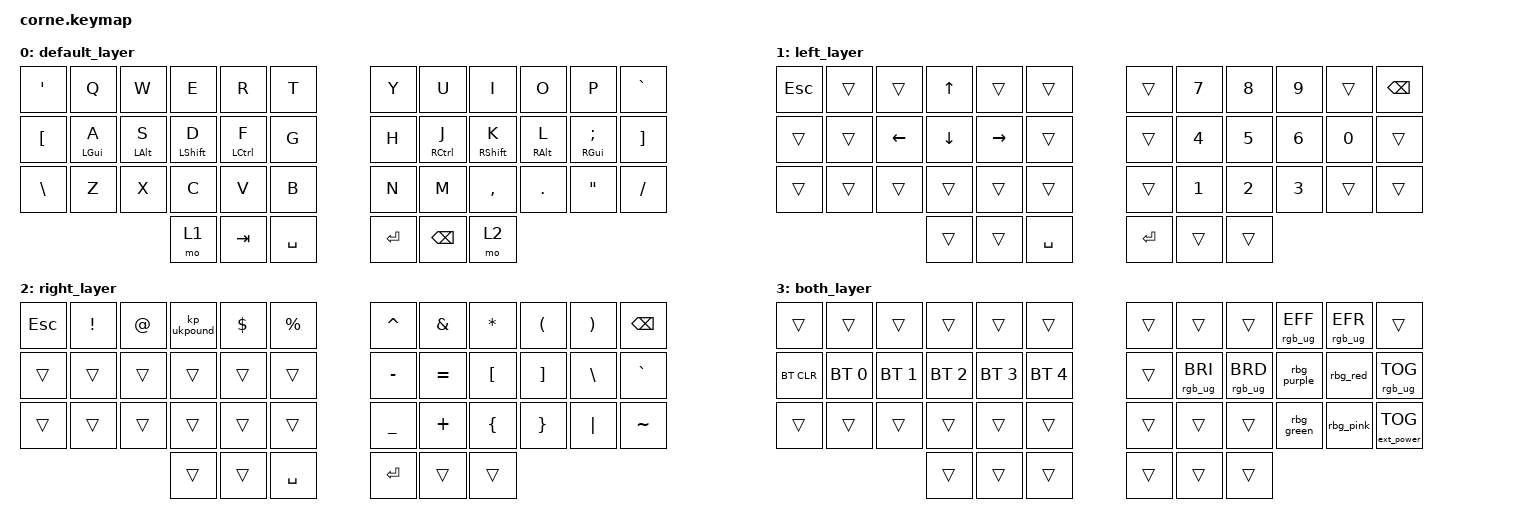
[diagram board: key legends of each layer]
/*
 * Copyright (c) 2020 The ZMK Contributors
 *
 * SPDX-License-Identifier: MIT
 */

#include <behaviors.dtsi>
#include <dt-bindings/zmk/bt.h>
#include <dt-bindings/zmk/ext_power.h>
#include <dt-bindings/zmk/keys.h>
#include <dt-bindings/zmk/keys.h>
#include <dt-bindings/zmk/rgb.h>

&led_strip { chain-length = <27>; };

/ {
    behaviors {
        ht_home: ht_home {
            compatible = "zmk,behavior-hold-tap";
            label = "HT_HOME";
            bindings = <&kp>, <&kp>;

            #binding-cells = <2>;
            tapping-term-ms = <200>;
            flavor = "tap-preferred";
            quick-tap-ms = <200>;
        };
    };

    combos {
        compatible = "zmk,combos";

        combo_escape {
            bindings = <&kp ESCAPE>;
            key-positions = <27 28 31 32>;
            layers = <0>;
        };
    };

    macros {
        rbg_purple: rbg_purple {
            compatible = "zmk,behavior-macro";
            #binding-cells = <0>;
            bindings = <&rgb_ug RGB_ON &rgb_ug RGB_COLOR_HSB(267,100,50)>;
            label = "RBG_PURPLE";
        };

        rbg_red: rbg_red {
            compatible = "zmk,behavior-macro";
            #binding-cells = <0>;
            bindings = <&rgb_ug RGB_ON &rgb_ug RGB_COLOR_HSB(0,100,50)>;
            label = "RBG_RED";
        };

        rbg_green: rbg_green {
            compatible = "zmk,behavior-macro";
            #binding-cells = <0>;
            bindings = <&rgb_ug RGB_ON &rgb_ug RGB_COLOR_HSB(128,100,50)>;
            label = "RBG_GREEN";
        };

        rbg_pink: rbg_pink {
            compatible = "zmk,behavior-macro";
            #binding-cells = <0>;
            bindings = <&rgb_ug RGB_ON &rgb_ug RGB_COLOR_HSB(295,100,50)>;
            label = "RBG_PINK";
        };

        kp_ukpound: new_macro {
            compatible = "zmk,behavior-macro";
            #binding-cells = <0>;
            bindings = <&kt LEFT_ALT &kp KP_NUMBER_1 &kp KP_NUMBER_5 &kp KP_NUMBER_6 &kt LEFT_ALT>;
            label = "NEW_MACRO";
        };
    };

    keymap {
        compatible = "zmk,keymap";

        default_layer {
            // -----------------------------------------------------------------------------------------
            // |  TAB |  Q  |  W  |  E  |  R  |  T  |   |  Y  |  U   |  I  |  O  |  P  | BSPC |
            // | CTRL |  A  |  S  |  D  |  F  |  G  |   |  H  |  J   |  K  |  L  |  ;  |  '   |
            // | SHFT |  Z  |  X  |  C  |  V  |  B  |   |  N  |  M   |  ,  |  .  |  /  | ESC  |
            //                    | GUI | LWR | SPC |   | ENT | RSE  | ALT |

            bindings = <
&kp SQT           &kp Q                &kp W                &kp E                  &kp R             &kp T        &kp Y    &kp U             &kp I                   &kp O                 &kp P                         &kp GRAVE
&kp LEFT_BRACKET  &ht_home LEFT_GUI A  &ht_home LEFT_ALT S  &ht_home LEFT_SHIFT D  &ht_home LCTRL F  &kp G        &kp H    &ht_home RCTRL J  &ht_home RIGHT_SHIFT K  &ht_home RIGHT_ALT L  &ht_home RIGHT_GUI SEMICOLON  &kp RIGHT_BRACKET
&kp BACKSLASH     &kp Z                &kp X                &kp C                  &kp V             &kp B        &kp N    &kp M             &kp COMMA               &kp DOT               &kp DOUBLE_QUOTES             &kp SLASH
                                                            &mo 1                  &kp TAB           &kp SPACE    &kp RET  &kp BACKSPACE     &mo 2
            >;
        };

        left_layer {
            // -----------------------------------------------------------------------------------------
            // |  TAB |  1  |  2  |  3  |  4  |  5  |   |  6  |  7  |  8  |  9  |  0  | BSPC |
            // | BTCLR| BT1 | BT2 | BT3 | BT4 | BT5 |   | LFT | DWN |  UP | RGT |     |      |
            // | SHFT |     |     |     |     |     |   |     |     |     |     |     |      |
            //                    | GUI |     | SPC |   | ENT |     | ALT |

            bindings = <
&kp ESCAPE  &trans  &trans    &kp UP    &trans     &trans       &trans   &kp NUMBER_7  &kp NUMBER_8  &kp N9        &trans        &kp BSPC
&trans      &trans  &kp LEFT  &kp DOWN  &kp RIGHT  &trans       &trans   &kp NUMBER_4  &kp NUMBER_5  &kp NUMBER_6  &kp NUMBER_0  &trans
&trans      &trans  &trans    &trans    &trans     &trans       &trans   &kp NUMBER_1  &kp NUMBER_2  &kp NUMBER_3  &trans        &trans
                              &trans    &trans     &kp SPACE    &kp RET  &trans        &trans
            >;
        };

        right_layer {
            // -----------------------------------------------------------------------------------------
            // |  TAB |  !  |  @  |  #  |  $  |  %  |   |  ^  |  &  |  *  |  (  |  )  | BSPC |
            // | CTRL |     |     |     |     |     |   |  -  |  =  |  [  |  ]  |  \  |  `   |
            // | SHFT |     |     |     |     |     |   |  _  |  +  |  {  |  }  | "|" |  ~   |
            //                    | GUI |     | SPC |   | ENT |     | ALT |

            bindings = <
&kp ESCAPE  &kp EXCLAMATION  &kp AT_SIGN  &kp_ukpound  &kp DLLR  &kp PRCNT    &kp CARET  &kp AMPS   &kp ASTRK  &kp LPAR  &kp RPAR  &kp BSPC
&trans      &trans           &trans       &trans       &trans    &trans       &kp MINUS  &kp EQUAL  &kp LBKT   &kp RBKT  &kp BSLH  &kp GRAVE
&trans      &trans           &trans       &trans       &trans    &trans       &kp UNDER  &kp PLUS   &kp LBRC   &kp RBRC  &kp PIPE  &kp TILDE
                                          &trans       &trans    &kp SPACE    &kp RET    &trans     &trans
            >;
        };

        both_layer {
            bindings = <
&trans      &trans        &trans        &trans        &trans        &trans          &trans  &trans           &trans           &rgb_ug RGB_EFF  &rgb_ug RGB_EFR  &trans
&bt BT_CLR  &bt BT_SEL 0  &bt BT_SEL 1  &bt BT_SEL 2  &bt BT_SEL 3  &bt BT_SEL 4    &trans  &rgb_ug RGB_BRI  &rgb_ug RGB_BRD  &rbg_purple      &rbg_red         &rgb_ug RGB_TOG
&trans      &trans        &trans        &trans        &trans        &trans          &trans  &trans           &trans           &rbg_green       &rbg_pink        &ext_power EP_TOG
                                        &trans        &trans        &trans          &trans  &trans           &trans
            >;
        };
    };

    conditional_layers {
        compatible = "zmk,conditional-layers";

        Both {
            if-layers = <1 2>;
            then-layer = <3>;
        };
    };
};
